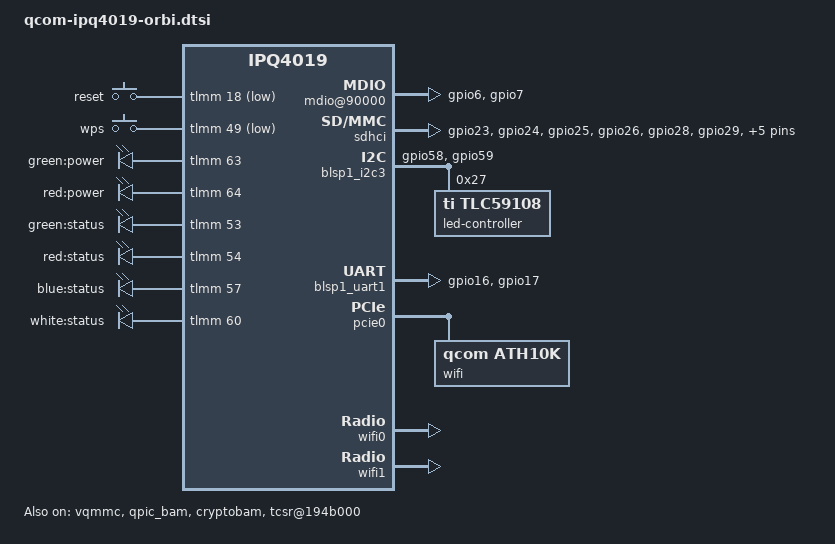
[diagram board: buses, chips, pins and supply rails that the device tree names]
// SPDX-License-Identifier: GPL-2.0-or-later OR MIT

#include "qcom-ipq4019.dtsi"
#include <dt-bindings/gpio/gpio.h>
#include <dt-bindings/input/input.h>
#include <dt-bindings/soc/qcom,tcsr.h>

/ {
	aliases {
		led-boot = &led_status_white;
		led-failsafe = &led_status_red;
		led-running = &led_status_green;
		led-upgrade = &led_status_blue;
	};

	soc {
		rng@22000 {
			status = "okay";
		};

		mdio@90000 {
			status = "okay";

			pinctrl-0 = <&mdio_pins>;
			pinctrl-names = "default";
		};

		ess-psgmii@98000 {
			status = "okay";
		};

		counter@4a1000 {
			compatible = "qcom,qca-gcnt";
			reg = <0x4a1000 0x4>;
		};

		tcsr@1949000 {
			compatible = "qcom,tcsr";
			reg = <0x1949000 0x100>;
			qcom,wifi_glb_cfg = <TCSR_WIFI_GLB_CFG>;
		};

		tcsr@194b000 {
			status = "okay";

			compatible = "qcom,tcsr";
			reg = <0x194b000 0x100>;
			qcom,usb-hsphy-mode-select = <TCSR_USB_HSPHY_HOST_MODE>;
		};

		ess_tcsr@1953000 {
			compatible = "qcom,tcsr";
			reg = <0x1953000 0x1000>;
			qcom,ess-interface-select = <TCSR_ESS_PSGMII>;
		};

		tcsr@1957000 {
			compatible = "qcom,tcsr";
			reg = <0x1957000 0x100>;
			qcom,wifi_noc_memtype_m0_m2 = <TCSR_WIFI_NOC_MEMTYPE_M0_M2>;
		};

		crypto@8e3a000 {
			status = "okay";
		};

		watchdog@b017000 {
			status = "okay";
		};

		ess-switch@c000000 {
			status = "okay";

			switch_lan_bmp = <0x1c>;
			switch_wan_bmp = <0x02>;
		};

		edma@c080000 {
			status = "okay";
		};
	};

	keys {
		compatible = "gpio-keys";

		reset {
			label = "reset";
			gpios = <&tlmm 18 GPIO_ACTIVE_LOW>;
			linux,code = <KEY_RESTART>;
		};

		wps {
			label = "wps";
			gpios = <&tlmm 49 GPIO_ACTIVE_LOW>;
			linux,code = <KEY_WPS_BUTTON>;
		};
	};

	leds {
		compatible = "gpio-leds";

		led-0 {
			label = "green:power";
			gpios = <&tlmm 63 GPIO_ACTIVE_HIGH>;
			default-state = "on";
		};

		led-1 {
			label = "red:power";
			gpios = <&tlmm 64 GPIO_ACTIVE_HIGH>;
			panic-indicator;
		};

		led_status_green: led-2 {
			label = "green:status";
			gpios = <&tlmm 53 GPIO_ACTIVE_HIGH>;
		};

		led_status_red: led-3 {
			label = "red:status";
			gpios = <&tlmm 54 GPIO_ACTIVE_HIGH>;
		};

		led_status_blue: led-4 {
			label = "blue:status";
			gpios = <&tlmm 57 GPIO_ACTIVE_HIGH>;
		};

		led_status_white: led-5 {
			label = "white:status";
			gpios = <&tlmm 60 GPIO_ACTIVE_HIGH>;
		};
	};
};

&vqmmc {
	status = "okay";
};

&sdhci {
	status = "okay";

	pinctrl-0 = <&sd_pins>;
	pinctrl-names = "default";
	cd-gpios = <&tlmm 22 GPIO_ACTIVE_LOW>;
	vqmmc-supply = <&vqmmc>;
};

&qpic_bam {
	status = "okay";
};

&tlmm {
	mdio_pins: mdio_pinmux {
		mux_1 {
			pins = "gpio6";
			function = "mdio";
			bias-pull-up;
		};

		mux_2 {
			pins = "gpio7";
			function = "mdc";
			bias-pull-up;
		};
	};

	serial_pins: serial_pinmux {
		mux {
			pins = "gpio16", "gpio17";
			function = "blsp_uart0";
			bias-disable;
		};
	};

	i2c_0_pins: i2c_0_pinmux {
		pinmux {
			function = "blsp_i2c0";
			pins = "gpio58", "gpio59";
			bias-disable;
		};
	};

	sd_pins: sd_pins {
		pinmux {
			function = "sdio";
			pins = "gpio23", "gpio24", "gpio25", "gpio26",
				"gpio28", "gpio29", "gpio30", "gpio31";
			drive-strength = <10>;
		};

		pinmux_sd_clk {
			function = "sdio";
			pins = "gpio27";
			drive-strength = <16>;
		};

		pinmux_sd7 {
			function = "sdio";
			pins = "gpio32";
			drive-strength = <10>;
			bias-disable;
		};
	};
};

&blsp_dma {
	status = "okay";
};

&blsp1_i2c3 {
	pinctrl-0 = <&i2c_0_pins>;
	pinctrl-names = "default";

	status = "okay";

	led-controller@27 {
		#address-cells = <1>;
		#size-cells = <0>;
		compatible = "ti,tlc59108"; /* really is tlc59208f */
		reg = <0x27>;

		led0@0 {
			label = "rgb:led0";
			reg = <0x0>;
			linux,default-trigger = "default-on";
		};

		led1@1 {
			label = "rgb:led1";
			reg = <0x1>;
			linux,default-trigger = "default-on";
		};

		led2@2 {
			label = "rgb:led2";
			reg = <0x2>;
			linux,default-trigger = "default-on";
		};

		led3@3 {
			label = "rgb:led3";
			reg = <0x3>;
			linux,default-trigger = "default-on";
		};

		led4@4 {
			label = "rgb:led4";
			reg = <0x4>;
			linux,default-trigger = "default-on";
		};

		led5@5 {
			label = "rgb:led5";
			reg = <0x5>;
			linux,default-trigger = "default-on";
		};

		led6@6 {
			label = "rgb:led6";
			reg = <0x6>;
			linux,default-trigger = "default-on";
		};

		led7@7 {
			label = "rgb:led7";
			reg = <0x7>;
			linux,default-trigger = "default-on";
		};
	};
};

&blsp1_uart1 {
	status = "okay";

	pinctrl-0 = <&serial_pins>;
	pinctrl-names = "default";
};

&cryptobam {
	status = "okay";
};

&gmac0 {
	vlan_tag = <1 0x1c>;
};

&gmac1 {
	qcom,phy_mdio_addr = <0>;
	vlan_tag = <2 0x02>;
};

&pcie0 {
	status = "okay";

	perst-gpio = <&tlmm 38 GPIO_ACTIVE_LOW>;
	wake-gpio = <&tlmm 50 GPIO_ACTIVE_LOW>;

	bridge@0,0 {
		reg = <0x00000000 0 0 0 0>;
		#address-cells = <3>;
		#size-cells = <2>;
		ranges;

		wifi@1,0 {
			compatible = "qcom,ath10k";
			status = "okay";
			reg = <0x00010000 0 0 0 0>;
			ieee80211-freq-limit = <5470000 5875000>;
			qcom,ath10k-calibration-variant = "Netgear-Orbi-Pro-SRK60";
		};
	};
};

&wifi0 {
	status = "okay";

	qcom,ath10k-calibration-variant = "Netgear-Orbi-Pro-SRK60";
};

&wifi1 {
	status = "okay";

	qcom,ath10k-calibration-variant = "Netgear-Orbi-Pro-SRK60";
};
